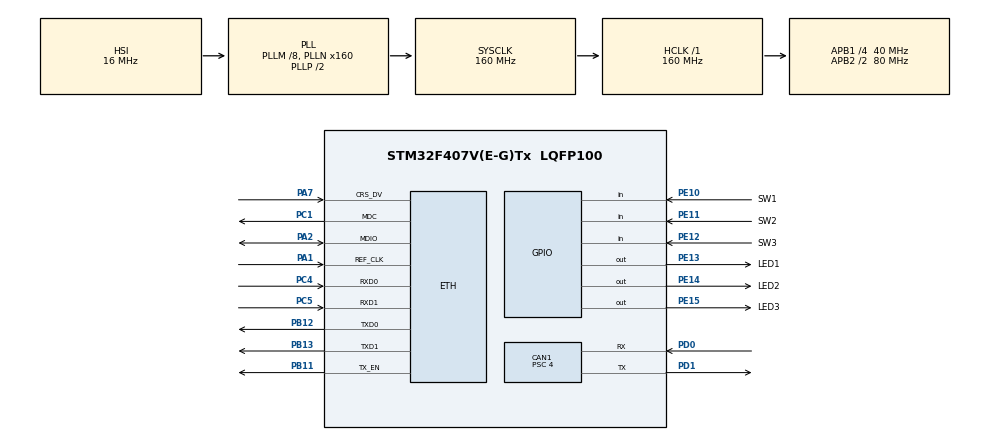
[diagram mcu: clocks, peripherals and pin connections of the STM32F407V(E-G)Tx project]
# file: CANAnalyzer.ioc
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CAN1.BS1=CAN_BS1_8TQ
CAN1.CalculateBaudRate=1000000
CAN1.CalculateTimeBit=1000.00
CAN1.CalculateTimeQuantum=100.0
CAN1.Prescaler=4
CAN1.SJW=CAN_SJW_1TQ
CAN1.TTCM=ENABLE
ETH.MediaInterface=ETH_MEDIA_INTERFACE_RMII
ETH.PHY_Name_RMII=DP83848_PHY_ADDRESS
FREERTOS.Queues01=txqueue,16,CANserial_msg,0,Dynamic,NULL,NULL
FREERTOS.Tasks01=defaultTask,0,128,StartDefaultTask,Default,NULL,Dynamic,NULL,NULL;socketTask,-3,512,socketTaskStart,Default,NULL,Dynamic,NULL,NULL
LWIP.LWIP_HTTPD=0
LWIP.LWIP_NETCONN=1
LWIP.Version=v2.1.2_Cube
Mcu.Family=STM32F4
Mcu.Name=STM32F407V(E-G)Tx
Mcu.Package=LQFP100
NVIC.CAN1_RX0_IRQn=true\:5\:0\:false\:false\:true\:true\:true\:true
NVIC.ETH_IRQn=true\:5\:0\:false\:false\:true\:true\:false\:true
NVIC.PriorityGroup=NVIC_PRIORITYGROUP_4
NVIC.TIM1_UP_TIM10_IRQn=true\:0\:0\:false\:false\:true\:false\:false\:true
NVIC.TimeBase=TIM1_UP_TIM10_IRQn
NVIC.TimeBaseIP=TIM1
PA1.Mode=RMII
PA1.Signal=ETH_REF_CLK
PA13.Mode=JTAG_5_pins
PA13.Signal=SYS_JTMS-SWDIO
PA14.Mode=JTAG_5_pins
PA14.Signal=SYS_JTCK-SWCLK
PA15.Mode=JTAG_5_pins
PA15.Signal=SYS_JTDI
PA2.Mode=RMII
PA2.Signal=ETH_MDIO
PA7.Mode=RMII
PA7.Signal=ETH_CRS_DV
PB11.Mode=RMII
PB11.Signal=ETH_TX_EN
PB12.Mode=RMII
PB12.Signal=ETH_TXD0
PB13.Mode=RMII
PB13.Signal=ETH_TXD1
PB3.Mode=JTAG_5_pins
PB3.Signal=SYS_JTDO-SWO
PB4.Mode=JTAG_5_pins
PB4.Signal=SYS_JTRST
PC1.Mode=RMII
PC1.Signal=ETH_MDC
PC4.Mode=RMII
PC4.Signal=ETH_RXD0
PC5.Mode=RMII
PC5.Signal=ETH_RXD1
PD0.Mode=CAN_Activate
PD0.Signal=CAN1_RX
PD1.Mode=CAN_Activate
PD1.Signal=CAN1_TX
PE10.GPIO_Label=SW1
PE10.Signal=GPIO_Input
PE11.GPIO_Label=SW2
PE11.Signal=GPIO_Input
PE12.GPIO_Label=SW3
PE12.Signal=GPIO_Input
PE13.GPIO_Label=LED1
PE13.Signal=GPIO_Output
PE14.GPIO_Label=LED2
PE14.Signal=GPIO_Output
PE15.GPIO_Label=LED3
PE15.Signal=GPIO_Output
ProjectManager.HeapSize=0x200
ProjectManager.StackSize=0x400
ProjectManager.TargetToolchain=STM32CubeIDE
RCC.48MHZClocksFreq_Value=80000000
RCC.AHBFreq_Value=160000000
RCC.APB1CLKDivider=RCC_HCLK_DIV4
RCC.APB1Freq_Value=40000000
RCC.APB1TimFreq_Value=80000000
RCC.APB2CLKDivider=RCC_HCLK_DIV2
RCC.APB2Freq_Value=80000000
RCC.APB2TimFreq_Value=160000000
RCC.CortexFreq_Value=160000000
RCC.HCLKFreq_Value=160000000
RCC.HSE_VALUE=25000000
RCC.HSI_VALUE=16000000
RCC.LSE_VALUE=32768
RCC.PLLM=8
RCC.PLLN=160
RCC.SYSCLKFreq_VALUE=160000000
RCC.SYSCLKSource=RCC_SYSCLKSOURCE_PLLCLK
RCC.VCOOutputFreq_Value=320000000
VP_FREERTOS_VS_CMSIS_V1.Mode=CMSIS_V1
VP_LWIP_VS_Enabled.Mode=Enabled
VP_SYS_VS_tim1.Mode=TIM1
board=custom

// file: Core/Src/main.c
/* USER CODE BEGIN Header */
/* USER CODE END Header */
#include "main.h"
#include "cmsis_os.h"
#include "can.h"
#include "lwip.h"
#include "gpio.h"

void SystemClock_Config(void);
void MX_FREERTOS_Init(void);

int main(void)
{

  /* MCU Configuration--------------------------------------------------------*/

  /* Reset of all peripherals, Initializes the Flash interface and the Systick. */
  HAL_Init();

  /* Configure the system clock */
  SystemClock_Config();

  /* Initialize all configured peripherals */
  MX_GPIO_Init();
  MX_CAN1_Init();
  /* USER CODE BEGIN 2 */

	CAN_FilterTypeDef sFilterConfig;

	// Common Filter Parameters
	sFilterConfig.FilterMode = CAN_FILTERMODE_IDMASK;
	sFilterConfig.FilterScale = CAN_FILTERSCALE_32BIT;
	sFilterConfig.FilterActivation = CAN_FILTER_ENABLE;
	sFilterConfig.SlaveStartFilterBank = 14;
	sFilterConfig.FilterFIFOAssignment = CAN_FILTER_FIFO0;

	// Config Standard Filter
  sFilterConfig.FilterBank = 0;
  sFilterConfig.FilterIdHigh = 0;
	sFilterConfig.FilterMaskIdHigh = 0;
	sFilterConfig.FilterIdLow = 0;
	sFilterConfig.FilterMaskIdLow = 0;

	if(HAL_CAN_ConfigFilter(&hcan1, &sFilterConfig) != HAL_OK)
	{
		Error_Handler();
	}

  /* USER CODE END 2 */

  /* Call init function for freertos objects (in freertos.c) */
  MX_FREERTOS_Init();
  /* Start scheduler */
  osKernelStart();

  /* We should never get here as control is now taken by the scheduler */
  /* Infinite loop */

}

void SystemClock_Config(void)
{
  RCC_OscInitTypeDef RCC_OscInitStruct = {0};
  RCC_ClkInitTypeDef RCC_ClkInitStruct = {0};

  /** Configure the main internal regulator output voltage
  */
  __HAL_RCC_PWR_CLK_ENABLE();
  __HAL_PWR_VOLTAGESCALING_CONFIG(PWR_REGULATOR_VOLTAGE_SCALE1);
  /** Initializes the RCC Oscillators according to the specified parameters
  * in the RCC_OscInitTypeDef structure.
  */
  RCC_OscInitStruct.OscillatorType = RCC_OSCILLATORTYPE_HSI;
  RCC_OscInitStruct.HSIState = RCC_HSI_ON;
  RCC_OscInitStruct.HSICalibrationValue = RCC_HSICALIBRATION_DEFAULT;
  RCC_OscInitStruct.PLL.PLLState = RCC_PLL_ON;
  RCC_OscInitStruct.PLL.PLLSource = RCC_PLLSOURCE_HSI;
  RCC_OscInitStruct.PLL.PLLM = 8;
  RCC_OscInitStruct.PLL.PLLN = 160;
  RCC_OscInitStruct.PLL.PLLP = RCC_PLLP_DIV2;
  RCC_OscInitStruct.PLL.PLLQ = 4;
  if (HAL_RCC_OscConfig(&RCC_OscInitStruct) != HAL_OK)
  {
    Error_Handler();
  }
  /** Initializes the CPU, AHB and APB buses clocks
  */
  RCC_ClkInitStruct.ClockType = RCC_CLOCKTYPE_HCLK|RCC_CLOCKTYPE_SYSCLK
                              |RCC_CLOCKTYPE_PCLK1|RCC_CLOCKTYPE_PCLK2;
  RCC_ClkInitStruct.SYSCLKSource = RCC_SYSCLKSOURCE_PLLCLK;
  RCC_ClkInitStruct.AHBCLKDivider = RCC_SYSCLK_DIV1;
  RCC_ClkInitStruct.APB1CLKDivider = RCC_HCLK_DIV4;
  RCC_ClkInitStruct.APB2CLKDivider = RCC_HCLK_DIV2;

  if (HAL_RCC_ClockConfig(&RCC_ClkInitStruct, FLASH_LATENCY_5) != HAL_OK)
  {
    Error_Handler();
  }
}

 /**
  * @brief  Period elapsed callback in non blocking mode
  * @note   This function is called  when TIM1 interrupt took place, inside
  * HAL_TIM_IRQHandler(). It makes a direct call to HAL_IncTick() to increment
  * a global variable "uwTick" used as application time base.
  * @param  htim : TIM handle
  * @retval None
  */
void HAL_TIM_PeriodElapsedCallback(TIM_HandleTypeDef *htim)
{
  if (htim->Instance == TIM1) {
    HAL_IncTick();
  }
}

void Error_Handler(void)
{
}

/************************ (C) COPYRIGHT STMicroelectronics *****END OF FILE****/

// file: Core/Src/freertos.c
/* USER CODE BEGIN Header */
/**
  ******************************************************************************
  * File Name          : freertos.c
  * Description        : Code for freertos applications
  ******************************************************************************
  * @attention
  *
  * <h2><center>&copy; Copyright (c) 2021 STMicroelectronics.
  * All rights reserved.</center></h2>
  *
  * This software component is licensed by ST under Ultimate Liberty license
  * SLA0044, the "License"; You may not use this file except in compliance with
  * the License. You may obtain a copy of the License at:
  *                             www.st.com/SLA0044
  *
  ******************************************************************************
  */
/* USER CODE END Header */

#include "FreeRTOS.h"
#include "task.h"
#include "main.h"
#include "cmsis_os.h"

/* USER CODE BEGIN Includes */
#include "lwip/opt.h"
#include "lwip/api.h"
#include "lwip/inet.h"
#include "lwip/sockets.h"

#include "can.h"

/* USER CODE END Includes */

/* USER CODE BEGIN PTD */
typedef union CANserial_msg_u{
	uint8_t bytes[19];

	struct __attribute__ ((__packed__)) data_s{
		uint8_t SOF;
		uint32_t Timestamp;
		uint8_t DLC;
		uint32_t ID;
		uint8_t END[9];
	}data;
}CANserial_msg;

/* USER CODE END PTD */

osThreadId defaultTaskHandle;
osThreadId socketTaskHandle;
osMessageQId txqueueHandle;

void StartDefaultTask(void const * argument);
void socketTaskStart(void const * argument);

extern void MX_LWIP_Init(void);
void MX_FREERTOS_Init(void); /* (MISRA C 2004 rule 8.1) */

/* GetIdleTaskMemory prototype (linked to static allocation support) */
void vApplicationGetIdleTaskMemory( StaticTask_t **ppxIdleTaskTCBBuffer, StackType_t **ppxIdleTaskStackBuffer, uint32_t *pulIdleTaskStackSize );

/* USER CODE BEGIN GET_IDLE_TASK_MEMORY */
static StaticTask_t xIdleTaskTCBBuffer;
static StackType_t xIdleStack[configMINIMAL_STACK_SIZE];

void vApplicationGetIdleTaskMemory( StaticTask_t **ppxIdleTaskTCBBuffer, StackType_t **ppxIdleTaskStackBuffer, uint32_t *pulIdleTaskStackSize )
{
  *ppxIdleTaskTCBBuffer = &xIdleTaskTCBBuffer;
  *ppxIdleTaskStackBuffer = &xIdleStack[0];
  *pulIdleTaskStackSize = configMINIMAL_STACK_SIZE;
  /* place for user code */
}
/* USER CODE END GET_IDLE_TASK_MEMORY */

void MX_FREERTOS_Init(void) {

  /* Create the queue(s) */
  /* definition and creation of txqueue */
  osMessageQDef(txqueue, 16, CANserial_msg);
  txqueueHandle = osMessageCreate(osMessageQ(txqueue), NULL);

  /* Create the thread(s) */
  /* definition and creation of defaultTask */
  osThreadDef(defaultTask, StartDefaultTask, osPriorityNormal, 0, 128);
  defaultTaskHandle = osThreadCreate(osThread(defaultTask), NULL);

  /* definition and creation of socketTask */
  osThreadDef(socketTask, socketTaskStart, osPriorityIdle, 0, 512);
  socketTaskHandle = osThreadCreate(osThread(socketTask), NULL);

}

void StartDefaultTask(void const * argument)
{
  /* init code for LWIP */
  MX_LWIP_Init();
  for(;;)
  {
    osDelay(1);
  }
}

void socketTaskStart(void const * argument)
{
  /* USER CODE BEGIN socketTaskStart */

	//Wait a second for the link to be init
	vTaskDelay(1000);

	int sock, newconn, size;
	  struct sockaddr_in address, remotehost;

	 /* create a TCP socket */
	  if ((sock = socket(AF_INET, SOCK_STREAM, 0)) < 0)
	  {
		return;
	  }

	  /* bind to port at any interface */
	  address.sin_family = AF_INET;
	  address.sin_port = htons(1234);
	  address.sin_addr.s_addr = INADDR_ANY;

	  if (bind(sock, (struct sockaddr *)&address, sizeof (address)) < 0)
	  {
		return;
	  }

	  /* listen for incoming connections (TCP listen backlog = 5) */
	  listen(sock, 5);

	  size = sizeof(remotehost);
	  //int buflen = 1500;
	  //unsigned char recv_buffer[1500];
	  //int ret = read(newconn, recv_buffer, sizeof(recv_buffer));

	/* Infinite loop */
	for (;;) {
		HAL_CAN_Stop(&hcan1);

		newconn = accept(sock, (struct sockaddr* )&remotehost,(socklen_t* )&size);

		if(HAL_CAN_Start(&hcan1) != HAL_OK){
			Error_Handler();
		}

		if(HAL_CAN_ActivateNotification(&hcan1, CAN_IT_RX_FIFO0_MSG_PENDING|CAN_IT_TX_MAILBOX_EMPTY) != HAL_OK){
			Error_Handler();
		}

		for (;;) {
			HAL_GPIO_TogglePin(LED1_GPIO_Port, LED1_Pin);

			uint8_t payload[] = {0,1,2,3,4,5,6,7};

			CANserial_msg msg;
			xQueueReceive( txqueueHandle,&msg,portMAX_DELAY );

			uint8_t len = 11 + msg.data.DLC;

			write(newconn, (const unsigned char* )(msg.bytes), len);

		}

		//http_server_serve(newconn);
	}
  /* USER CODE END socketTaskStart */
}

/* USER CODE BEGIN Application */

void HAL_CAN_RxFifo0MsgPendingCallback(CAN_HandleTypeDef*hcan){
	uint8_t data[8];
	uint32_t ID;

	CAN_RxHeaderTypeDef header;

	HAL_CAN_GetRxMessage( // Get Message
			&hcan1,
			CAN_RX_FIFO0,
			&header,
			data
		);

	if (header.IDE == CAN_ID_EXT) {
		ID = header.ExtId;
	} else {
		ID = header.StdId;
	}

	CANserial_msg msg;

	msg.data.SOF = 0xAA;
	msg.data.Timestamp = xTaskGetTickCountFromISR(); //tickrate 1 ms
	msg.data.DLC = header.DLC;
	msg.data.ID = ID;

	for(int i=0; i<header.DLC;i++){
		msg.data.END[i] = data[i];
	}

	msg.data.END[header.DLC] = 0xBB;

	if(txqueueHandle != NULL){
		xQueueSendFromISR(txqueueHandle, &msg, 0);
	}

}

/* USER CODE END Application */

/************************ (C) COPYRIGHT STMicroelectronics *****END OF FILE****/
